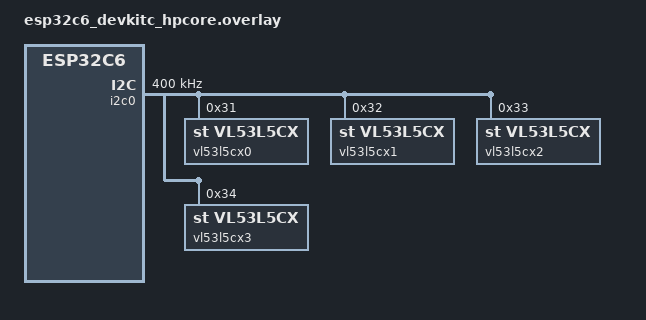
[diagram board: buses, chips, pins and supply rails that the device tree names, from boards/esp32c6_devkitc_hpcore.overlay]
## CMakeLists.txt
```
# SPDX-License-Identifier: Apache-2.0

cmake_minimum_required(VERSION 3.20.0)

find_package(Zephyr REQUIRED HINTS $ENV{ZEPHYR_BASE})
project(vl35l5cx_test)

target_sources(app PRIVATE src/main.c)
```

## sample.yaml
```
sample:
  description: Minimal VL53L5CX bring-up using ADS7128 GPIO expander enable
  name: vl53l5cx minimal
common:
  tags: sensor i2c
  integration_platforms:
    - esp32c6_devkitc
  harness: console
tests: {}
```

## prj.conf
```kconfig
CONFIG_I2C=y
CONFIG_SENSOR=y

# VL53L5CX multizone ToF driver (new)
CONFIG_VL53L5CX=y
CONFIG_VL53L5CX_LPN=n

# Optional: make prints of floats possible if you add them later
CONFIG_PICOLIBC_IO_FLOAT=y
```

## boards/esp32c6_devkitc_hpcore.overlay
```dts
/*
 * SPDX-License-Identifier: Apache-2.0
 * 
 * Overlay for custom ESP32C6 PCB
 * Override I2C pin assignments to match your PCB
 */

&pinctrl {
	i2c0_default: i2c0_default {
		group1 {
			pinmux = <I2C0_SDA_GPIO15>,  
				 <I2C0_SCL_GPIO14>;  
			bias-pull-up;
			drive-open-drain;
			output-high;
		};
	};
};

&i2c0 {
	status = "okay";
	pinctrl-0 = <&i2c0_default>;
	pinctrl-names = "default";

	clock-frequency = <400000>;

	/* Final unique addresses after reprogramming (see sample logic). */
	vl53l5cx0: vl53l5cx@31 {
		compatible = "st,vl53l5cx";
		reg = <0x31>;
		status = "okay";
	};

	vl53l5cx1: vl53l5cx@32 {
		compatible = "st,vl53l5cx";
		reg = <0x32>;
		status = "okay";
	};

	vl53l5cx2: vl53l5cx@33 {
		compatible = "st,vl53l5cx";
		reg = <0x33>;
		status = "okay";
	};

	vl53l5cx3: vl53l5cx@34 {
		compatible = "st,vl53l5cx";
		reg = <0x34>;
		status = "okay";
	};
};

/ {
	/* Define aliases for easier access in code */
	aliases {
		tof0 = &vl53l5cx0;
		tof1 = &vl53l5cx1;
		tof2 = &vl53l5cx2;
		tof3 = &vl53l5cx3;
	};
};
```

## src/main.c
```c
/*
 * SPDX-License-Identifier: Apache-2.0
 */

#include <zephyr/kernel.h>
#include <zephyr/device.h>
#include <zephyr/drivers/i2c.h>
#include <zephyr/drivers/sensor.h>
#include <zephyr/drivers/sensor/vl53l5cx.h>
#include <stdio.h>
#include <stdint.h>
#include <errno.h>

#define I2C_NODE DT_NODELABEL(i2c0)
#define TOF0_NODE DT_ALIAS(tof0)
#define TOF1_NODE DT_ALIAS(tof1)
#define TOF2_NODE DT_ALIAS(tof2)
#define TOF3_NODE DT_ALIAS(tof3)

/* ADS7128 I2C address on RiskyBird board */
#define ADS7128_I2C_ADDR 0x17

/* ADS7128 I2C command opcodes (datasheet Table 9) */
#define ADS7128_CMD_REG_WRITE 0x08 /* Single register write */
#define ADS7128_CMD_REG_READ  0x10 /* Single register read */

/* ADS7128 registers needed for GPIO output */
#define ADS7128_PIN_CFG_ADDRESS       0x05
#define ADS7128_GPIO_CFG_ADDRESS      0x07
#define ADS7128_GPO_DRIVE_CFG_ADDRESS 0x09
#define ADS7128_GPO_VALUE_ADDRESS     0x0B

/* RiskyBird: 4x VL53L5 enables are ADS7128 GPIO1..GPIO4 */
#define VL53L5_SENSOR_COUNT 4
#define VL53L5_DEFAULT_ADDR_7BIT 0x29
#define VL53L5_BASE_NEW_ADDR_7BIT 0x31 /* sensors will become 0x31..0x34 */

static const uint8_t vl53l5_en_channels[VL53L5_SENSOR_COUNT] = { 1, 2, 3, 4 };
static uint8_t ads7128_gpo_shadow;

static int ads7128_read_reg(const struct device *i2c_dev, uint8_t reg_addr, uint8_t *data)
{
	uint8_t tx[2] = { ADS7128_CMD_REG_READ, reg_addr };
	int ret = i2c_write(i2c_dev, tx, sizeof(tx), ADS7128_I2C_ADDR);
	if (ret != 0) {
		return ret;
	}
	return i2c_read(i2c_dev, data, 1, ADS7128_I2C_ADDR);
}

static int ads7128_write_reg(const struct device *i2c_dev, uint8_t reg_addr, uint8_t data)
{
	uint8_t buf[3] = { ADS7128_CMD_REG_WRITE, reg_addr, data };
	return i2c_write(i2c_dev, buf, sizeof(buf), ADS7128_I2C_ADDR);
}

static int ads7128_config_gpio_output_pushpull(const struct device *i2c_dev, uint8_t channel)
{
	int ret;
	uint8_t pin_cfg, gpio_cfg, drive_cfg;

	if (channel > 7) {
		return -EINVAL;
	}

	ret = ads7128_read_reg(i2c_dev, ADS7128_PIN_CFG_ADDRESS, &pin_cfg);
	if (ret != 0) {
		return ret;
	}
	pin_cfg |= (uint8_t)(1U << channel);
	ret = ads7128_write_reg(i2c_dev, ADS7128_PIN_CFG_ADDRESS, pin_cfg);
	if (ret != 0) {
		return ret;
	}

	ret = ads7128_read_reg(i2c_dev, ADS7128_GPIO_CFG_ADDRESS, &gpio_cfg);
	if (ret != 0) {
		return ret;
	}
	gpio_cfg |= (uint8_t)(1U << channel);
	ret = ads7128_write_reg(i2c_dev, ADS7128_GPIO_CFG_ADDRESS, gpio_cfg);
	if (ret != 0) {
		return ret;
	}

	ret = ads7128_read_reg(i2c_dev, ADS7128_GPO_DRIVE_CFG_ADDRESS, &drive_cfg);
	if (ret != 0) {
		return ret;
	}
	drive_cfg |= (uint8_t)(1U << channel);
	ret = ads7128_write_reg(i2c_dev, ADS7128_GPO_DRIVE_CFG_ADDRESS, drive_cfg);
	if (ret != 0) {
		return ret;
	}

	return 0;
}

static int ads7128_write_gpio(const struct device *i2c_dev, uint8_t channel, uint8_t value)
{
	if (channel > 7) {
		return -EINVAL;
	}

	if (value != 0U) {
		ads7128_gpo_shadow |= (uint8_t)(1U << channel);
	} else {
		ads7128_gpo_shadow &= (uint8_t)~(1U << channel);
	}

	return ads7128_write_reg(i2c_dev, ADS7128_GPO_VALUE_ADDRESS, ads7128_gpo_shadow);
}

static int ads7128_force_low_set(const struct device *i2c_dev)
{
	/* Force other sensor enables low so only one device is awake at a time.
	 * This matches your original bring-up constraint.
	 */
	const uint8_t gpios_to_force_low[] = { 1, 2, 3, 4, 6 };
	int ret;

	for (size_t i = 0; i < sizeof(gpios_to_force_low); i++) {
		uint8_t ch = gpios_to_force_low[i];
		ret = ads7128_config_gpio_output_pushpull(i2c_dev, ch);
		if (ret != 0) {
			printf("ERROR: ADS7128 configure GPIO%u failed (%d)\n", ch, ret);
			return ret;
		}
	}

	/* Atomically force all GPIO outputs low (avoid per-bit RMW jitter at boot). */
	ads7128_gpo_shadow = 0;
	ret = ads7128_write_reg(i2c_dev, ADS7128_GPO_VALUE_ADDRESS, ads7128_gpo_shadow);
	if (ret != 0) {
		printf("ERROR: ADS7128 write GPO_VALUE=0x00 failed (%d)\n", ret);
		return ret;
	}

	/* Let enables settle (important after cold power-on). */
	k_msleep(20);
	return 0;
}

static int vl53l5cx_write_reg8(const struct device *i2c_dev, uint8_t addr7, uint16_t reg, uint8_t value)
{
	uint8_t tx[3];
	tx[0] = (uint8_t)(reg >> 8);
	tx[1] = (uint8_t)(reg & 0xFF);
	tx[2] = value;
	return i2c_write(i2c_dev, tx, sizeof(tx), addr7);
}

static int vl53l5cx_read_reg8(const struct device *i2c_dev, uint8_t addr7, uint16_t reg, uint8_t *out)
{
	uint8_t regbuf[2];

	regbuf[0] = (uint8_t)(reg >> 8);
	regbuf[1] = (uint8_t)(reg & 0xFF);

	return i2c_write_read(i2c_dev, addr7, regbuf, sizeof(regbuf), out, 1);
}

static int vl53l5cx_probe_id(const struct device *i2c_dev, uint8_t addr7, uint16_t *out_id)
{
	int ret;
	uint8_t dev_id;
	uint8_t rev_id;

	/* Use the same idea as ST's is_alive(): select page 0, read regs 0/1, restore page 2. */
	ret = vl53l5cx_write_reg8(i2c_dev, addr7, 0x7FFF, 0x00);
	if (ret != 0) {
		return ret;
	}

	ret = vl53l5cx_read_reg8(i2c_dev, addr7, 0x0000, &dev_id);
	if (ret != 0) {
		(void)vl53l5cx_write_reg8(i2c_dev, addr7, 0x7FFF, 0x02);
		return ret;
	}

	ret = vl53l5cx_read_reg8(i2c_dev, addr7, 0x0001, &rev_id);
	(void)vl53l5cx_write_reg8(i2c_dev, addr7, 0x7FFF, 0x02);
	if (ret != 0) {
		return ret;
	}

	if (out_id != NULL) {
		*out_id = (uint16_t)(((uint16_t)dev_id << 8) | rev_id);
	}

	/* VL53L5CX is expected to return 0xF0 0x02 (0xF002). */
	if (dev_id != 0xF0U) {
		return -ENODEV;
	}

	return 0;
}

static int vl53l5cx_readdress_bootstrap(const struct device *i2c_dev,
					uint8_t old_addr7,
					uint8_t new_addr7)
{
	int ret;

	/* Match ST ULD sequence:
	 * - write 0x7fff = 0x00
	 * - write 0x0004 = (addr8 >> 1) == new_addr7
	 * - write 0x7fff = 0x02 (restore default page)
	 *
	 * Note: On some devices/busses the address change can take effect
	 * immediately after the 0x0004 write. In that case, any further writes to
	 * the old address may NACK. Therefore we treat the final restore write as
	 * best-effort and attempt it on both old and new addresses.
	 */
	ret = vl53l5cx_write_reg8(i2c_dev, old_addr7, 0x7FFF, 0x00);
	if (ret != 0) {
		printf("bootstrap: write 0x7FFF=0x00 failed (ret=%d)\n", ret);
		return ret;
	}
	k_msleep(2);

	ret = vl53l5cx_write_reg8(i2c_dev, old_addr7, 0x0004, new_addr7);
	if (ret != 0) {
		printf("bootstrap: write 0x0004=0x%02X failed (ret=%d)\n", new_addr7, ret);
		return ret;
	}
	k_msleep(2);

	/* Best effort restore (do not fail address change if this NACKs). */
	ret = vl53l5cx_write_reg8(i2c_dev, new_addr7, 0x7FFF, 0x02);
	if (ret != 0) {
		int ret_old = vl53l5cx_write_reg8(i2c_dev, old_addr7, 0x7FFF, 0x02);
		printf("bootstrap: restore page failed (new ret=%d, old ret=%d) - continuing\n", ret, ret_old);
	}

	return 0;
}

static int enable_one_sensor(const struct device *i2c_dev, uint8_t en_channel)
{
	int ret = ads7128_force_low_set(i2c_dev);
	if (ret != 0) {
		return ret;
	}
	ret = ads7128_write_gpio(i2c_dev, en_channel, 1);
	if (ret != 0) {
		printf("ERROR: ADS7128 set GPIO%u HIGH failed (%d)\n", en_channel, ret);
		return ret;
	}
	/* Cold-boot sensors may need longer before they ACK. */
	k_msleep(100);
	return 0;
}

static int wait_for_any_ack(const struct device *i2c_dev,
			    uint8_t addr_a,
			    uint8_t addr_b,
			    uint32_t timeout_ms)
{
	int ret_a, ret_b;
	int64_t start = k_uptime_get();
	uint16_t id;

	do {
		ret_a = vl53l5cx_probe_id(i2c_dev, addr_a, &id);
		ret_b = vl53l5cx_probe_id(i2c_dev, addr_b, &id);
		if (ret_a == 0 || ret_b == 0) {
			return 0;
		}
		k_msleep(10);
	} while ((k_uptime_get() - start) < timeout_ms);

	return -ETIMEDOUT;
}

static int program_one_sensor_address(const struct device *i2c_dev,
				      uint8_t sensor_idx,
				      uint8_t new_addr7)
{
	int ret;
	uint16_t id;

	printf("\n=== Sensor %u (enable GPIO%u) target addr 0x%02X ===\n",
	       sensor_idx, vl53l5_en_channels[sensor_idx], new_addr7);

	ret = enable_one_sensor(i2c_dev, vl53l5_en_channels[sensor_idx]);
	if (ret != 0) {
		return ret;
	}

	/* Give the device some time to show up on either address after cold boot. */
	ret = wait_for_any_ack(i2c_dev, VL53L5_DEFAULT_ADDR_7BIT, new_addr7, 500);
	if (ret != 0) {
		printf("ERROR: timeout waiting for ACK at 0x%02X or 0x%02X\n",
		       VL53L5_DEFAULT_ADDR_7BIT, new_addr7);
	}

	ret = vl53l5cx_probe_id(i2c_dev, new_addr7, &id);
	printf("Probe: target  0x%02X -> %s (ret=%d id=0x%04X)\n",
	       new_addr7, (ret == 0) ? "OK" : "NO", ret, (ret == 0) ? id : 0);
	if (ret == 0) {
		printf("Already at 0x%02X, skipping reprogram.\n", new_addr7);
		return 0;
	}

	/* Otherwise, must be at default address while only this sensor is enabled. */
	ret = vl53l5cx_probe_id(i2c_dev, VL53L5_DEFAULT_ADDR_7BIT, &id);
	printf("Probe: default 0x%02X -> %s (ret=%d id=0x%04X)\n",
	       VL53L5_DEFAULT_ADDR_7BIT, (ret == 0) ? "OK" : "NO", ret, (ret == 0) ? id : 0);
	if (ret != 0) {
		printf("ERROR: not responding at default 0x%02X and not at 0x%02X\n",
		       VL53L5_DEFAULT_ADDR_7BIT, new_addr7);
		return -ENODEV;
	}

	printf("Reprogramming 0x%02X -> 0x%02X...\n", VL53L5_DEFAULT_ADDR_7BIT, new_addr7);
	for (int attempt = 1; attempt <= 5; attempt++) {
		ret = vl53l5cx_readdress_bootstrap(i2c_dev, VL53L5_DEFAULT_ADDR_7BIT, new_addr7);
		if (ret == 0) {
			break;
		}
		printf("bootstrap attempt %d/5 failed (ret=%d), retrying...\n", attempt, ret);
		k_msleep(50);
	}
	if (ret != 0) {
		printf("ERROR: bootstrap readdress failed (ret=%d)\n", ret);
		return ret;
	}
	k_msleep(10);

	ret = vl53l5cx_probe_id(i2c_dev, new_addr7, &id);
	printf("Probe after: target  0x%02X -> %s (ret=%d id=0x%04X)\n",
	       new_addr7, (ret == 0) ? "OK" : "NO", ret, (ret == 0) ? id : 0);

	return 0;
}

int main(void)
{
	const struct device *i2c_dev = DEVICE_DT_GET(I2C_NODE);
	const struct device *tof_dev[VL53L5_SENSOR_COUNT] = {
		DEVICE_DT_GET(TOF0_NODE),
		DEVICE_DT_GET(TOF1_NODE),
		DEVICE_DT_GET(TOF2_NODE),
		DEVICE_DT_GET(TOF3_NODE),
	};
	int ret;
	struct sensor_value dist;

	printf("VL53L5CX 4-sensor integration test (ADS7128 enable, address program)\n");

	if (!device_is_ready(i2c_dev)) {
		printf("ERROR: I2C device not ready\n");
		return 1;
	}

	/* Ensure GPIOs are configured and all sensors are off initially. */
	ret = ads7128_force_low_set(i2c_dev);
	if (ret != 0) {
		return 1;
	}

	for (uint8_t i = 0; i < VL53L5_SENSOR_COUNT; i++) {
		if (!device_is_ready(tof_dev[i])) {
			printf("ERROR: ToF device tof%u not ready (check overlay aliases)\n", i);
			return 1;
		}
	}

	/* Step 1: Program addresses 0x31..0x34, one sensor at a time. */
	for (uint8_t i = 0; i < VL53L5_SENSOR_COUNT; i++) {
		uint8_t new_addr7 = (uint8_t)(VL53L5_BASE_NEW_ADDR_7BIT + i);
		ret = program_one_sensor_address(i2c_dev, i, new_addr7);
		if (ret != 0) {
			printf("ERROR: address program failed for sensor %u (ret=%d)\n", i, ret);
			return 1;
		}
	}

	/* Step 2: Initialize each sensor at its final address, one at a time. */
	for (uint8_t i = 0; i < VL53L5_SENSOR_COUNT; i++) {
		ret = enable_one_sensor(i2c_dev, vl53l5_en_channels[i]);
		if (ret != 0) {
			return 1;
		}

		printf("Initializing tof%u...\n", i);
		ret = vl53l5cx_reinit(tof_dev[i]);
		if (ret != 0) {
			printf("ERROR: vl53l5cx_reinit(tof%u) failed (%d)\n", i, ret);
			return 1;
		}
	}

	while (1) {
		for (uint8_t i = 0; i < VL53L5_SENSOR_COUNT; i++) {
			ret = enable_one_sensor(i2c_dev, vl53l5_en_channels[i]);
			if (ret != 0) {
				return 1;
			}

			ret = sensor_sample_fetch(tof_dev[i]);
			if (ret != 0) {
				printf("ERROR: tof%u sample_fetch failed (%d)\n", i, ret);
				/* If power gating drops firmware/config, try reinit once. */
				ret = vl53l5cx_reinit(tof_dev[i]);
				if (ret != 0) {
					printf("ERROR: tof%u reinit retry failed (%d)\n", i, ret);
					continue;
				}
				ret = sensor_sample_fetch(tof_dev[i]);
				if (ret != 0) {
					printf("ERROR: tof%u sample_fetch failed after reinit (%d)\n", i, ret);
					continue;
				}
			}

			ret = sensor_channel_get(tof_dev[i], SENSOR_CHAN_DISTANCE, &dist);
			if (ret != 0) {
				printf("ERROR: tof%u channel_get failed (%d)\n", i, ret);
				continue;
			}

			printf("tof%u center: %d mm\n", i, dist.val1);

			struct vl53l5cx_grid grid;
			ret = vl53l5cx_get_grid(tof_dev[i], &grid);
			if (ret == 0) {
				uint8_t side = (grid.resolution == 64U) ? 8U : 4U;
				printf("tof%u grid (%ux%u) row0:", i, side, side);
				for (uint8_t k = 0; k < side; k++) {
					printf(" %d", grid.distance_mm[k]);
				}
				printf("\n");
			}
		}

		k_msleep(500);
	}
}
```
